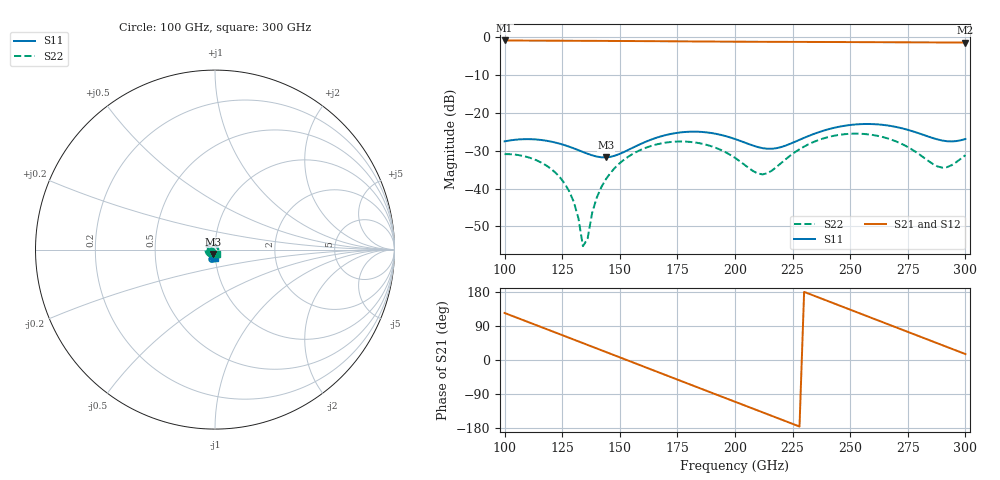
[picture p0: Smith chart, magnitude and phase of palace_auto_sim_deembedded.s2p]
! Created with skrf 1.11.0 (http://scikit-rf.org).
# GHz S DB R 50.0
!freq dBS11 angS11 dBS21 angS21 dBS12 angS12 dBS22 angS22
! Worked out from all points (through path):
!   101 points, 100 GHz to 300 GHz, reference 50 ohm
!   highest |S21| = -0.90 dB at 100 GHz (marker M1); lowest = -1.5 dB at 300 GHz (marker M2)
!   group delay of S21, straight-line fit = 6.51 ps
!   lowest |S11| = -31.8 dB at 144 GHz (marker M3), VSWR 1.05, Z = 49 - j2.36 ohm
!   |S11| at or under -10 dB: start of sweep to end of sweep
!   |S22| runs from -55.2 to -25.5 dB; largest |S21 - S12| = 1.6e-13
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100  -27.56 -101.3  -0.90 124.0  -0.90 124.0  -30.91 -146.0
112  -26.99 -117.1  -0.94 96.0  -0.94 96.0  -32.10 -177.1
124  -28.17 -128.9  -0.97 68.0  -0.97 68.0  -37.04 149.5
130  -29.39 -130.7  -0.98 53.9  -0.98 53.9  -43.48 127.9
132  -29.86 -130.2  -0.99 49.2  -0.99 49.2  -47.75 115.1
134  -30.34 -129.0  -0.99 44.5  -0.99 44.5  -55.23 78.7
136  -30.81 -127.0  -1.00 39.8  -1.00 39.8  -53.27 -18.7
138  -31.23 -124.1  -1.00 35.2  -1.00 35.2  -46.42 -45.6
140  -31.56 -120.4  -1.01 30.5  -1.01 30.5  -42.39 -57.0
144  -31.78 -111.3  -1.02 21.1  -1.02 21.1  -37.51 -72.0
154  -29.72 -93.8  -1.05 -2.4  -1.05 -2.4  -31.46 -101.9
168  -26.20 -96.9  -1.10 -35.3  -1.10 -35.3  -28.08 -141.8
184  -25.00 -114.1  -1.16 -72.7  -1.16 -72.7  -27.97 170.3
200  -26.93 -126.0  -1.22 -110.1  -1.22 -110.1  -31.90 110.0
212  -29.34 -115.3  -1.25 -138.2  -1.25 -138.2  -36.26 22.1
224  -28.18 -92.7  -1.27 -166.2  -1.27 -166.2  -31.30 -66.8
234  -25.64 -89.2  -1.29 170.3  -1.29 170.3  -27.74 -108.2
252  -23.10 -102.7  -1.33 128.1  -1.33 128.1  -25.51 -167.6
268  -23.52 -117.9  -1.37 90.6  -1.37 90.6  -27.12 139.4
278  -25.06 -122.4  -1.40 67.2  -1.40 67.2  -30.16 98.6
290  -27.33 -112.5  -1.42 39.1  -1.42 39.1  -34.49 14.5
300  -26.93 -93.5  -1.45 15.7  -1.45 15.7  -31.20 -63.4
